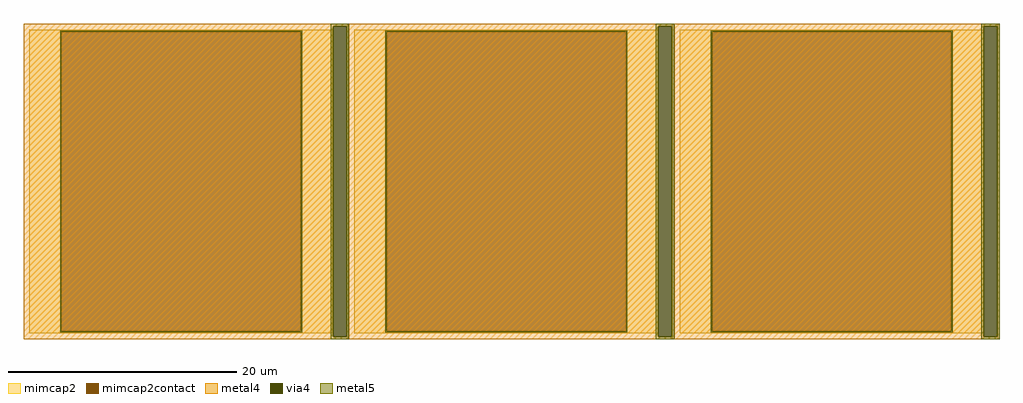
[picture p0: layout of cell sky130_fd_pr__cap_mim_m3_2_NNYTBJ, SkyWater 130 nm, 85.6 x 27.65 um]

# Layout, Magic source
magic
tech sky130A
magscale 1 2
<< metal4 >>
rect -8549 2723 -2863 2764
rect -8549 -2723 -3119 2723
rect -2883 -2723 -2863 2723
rect -8549 -2764 -2863 -2723
rect -2843 2723 2843 2764
rect -2843 -2723 2587 2723
rect 2823 -2723 2843 2723
rect -2843 -2764 2843 -2723
rect 2863 2723 8549 2764
rect 2863 -2723 8293 2723
rect 8529 -2723 8549 2723
rect 2863 -2764 8549 -2723
<< via4 >>
rect -3119 -2723 -2883 2723
rect 2587 -2723 2823 2723
rect 8293 -2723 8529 2723
<< mimcap2 >>
rect -8449 2624 -3121 2664
rect -8449 -2624 -7884 2624
rect -3686 -2624 -3121 2624
rect -8449 -2664 -3121 -2624
rect -2743 2624 2585 2664
rect -2743 -2624 -2178 2624
rect 2020 -2624 2585 2624
rect -2743 -2664 2585 -2624
rect 2963 2624 8291 2664
rect 2963 -2624 3528 2624
rect 7726 -2624 8291 2624
rect 2963 -2664 8291 -2624
<< mimcap2contact >>
rect -7884 -2624 -3686 2624
rect -2178 -2624 2020 2624
rect 3528 -2624 7726 2624
<< metal5 >>
rect -3161 2723 -2841 2765
rect -7908 2624 -3662 2648
rect -7908 -2624 -7884 2624
rect -3686 -2624 -3662 2624
rect -7908 -2648 -3662 -2624
rect -3161 -2723 -3119 2723
rect -2883 -2723 -2841 2723
rect 2545 2723 2865 2765
rect -2202 2624 2044 2648
rect -2202 -2624 -2178 2624
rect 2020 -2624 2044 2624
rect -2202 -2648 2044 -2624
rect -3161 -2765 -2841 -2723
rect 2545 -2723 2587 2723
rect 2823 -2723 2865 2723
rect 8251 2723 8571 2765
rect 3504 2624 7750 2648
rect 3504 -2624 3528 2624
rect 7726 -2624 7750 2624
rect 3504 -2648 7750 -2624
rect 2545 -2765 2865 -2723
rect 8251 -2723 8293 2723
rect 8529 -2723 8571 2723
rect 8251 -2765 8571 -2723
<< properties >>
string FIXED_BBOX 2863 -2764 8391 2764
string gencell sky130_fd_pr__cap_mim_m3_2
string library sky130
string parameters w 26.643 l 26.643 val 1.439k carea 2.00 cperi 0.19 nx 3 ny 1 dummy 0 square 0 lmin 2.00 wmin 2.00 lmax 30.0 wmax 30.0 dc 0 bconnect 1 tconnect 1 ccov 80
<< end >>
